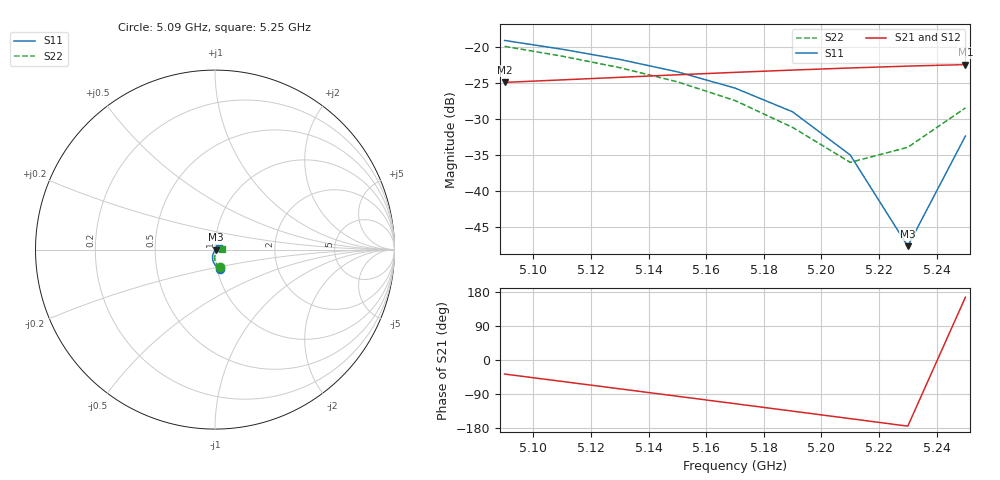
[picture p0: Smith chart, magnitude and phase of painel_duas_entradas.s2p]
! Created with skrf 2.0.1 (http://scikit-rf.org).
# Hz S RI R 50.0
! Port[1] = A_IN
! Port[2] = B_IN
!freq ReS11 ImS11 ReS21 ImS21 ReS12 ImS12 ReS22 ImS22
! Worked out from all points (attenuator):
!   9 points, 5.09 GHz to 5.25 GHz, reference 50 ohm
!   highest |S21| = -22.38 dB at 5.25 GHz (marker M1); lowest = -24.9 dB at 5.09 GHz (marker M2)
!   lowest |S11| = -47.7 dB at 5.23 GHz (marker M3), VSWR 1.01, Z = 50.4 - j0.0903 ohm
!   |S11| at or under -10 dB: start of sweep to end of sweep
!   |S22| runs from -36.0 to -19.8 dB; largest |S21 - S12| = 7.9e-17
5.09e9  0.0259 -0.1088  0.0455 -0.0344  0.0455 -0.0344  0.0266 -0.0982
5.11e9  0.0104 -0.0966  0.0328 -0.0496  0.0328 -0.0496  0.0136 -0.0859
5.13e9  -0.00163 -0.0825  0.0149 -0.0601  0.0149 -0.0601  0.00427 -0.0722
5.15e9  -0.00988 -0.0669  -0.00635 -0.0642  -0.00635 -0.0642  -0.00131 -0.0576
5.17e9  -0.0139 -0.0502  -0.0286 -0.0607  -0.0286 -0.0607  -0.00285 -0.0426
5.19e9  -0.0133 -0.033  -0.0492 -0.0492  -0.0492 -0.0492  -7.74e-06 -0.0277
5.21e9  -0.00749 -0.0162  -0.0651 -0.0308  -0.0651 -0.0308  0.00755 -0.0139
5.23e9  0.00403 -0.000896  -0.0738 -0.00706  -0.0738 -0.00706  0.02 -0.0022
5.25e9  0.0214 0.0113  -0.0736 0.019  -0.0736 0.019  0.0374 0.00599
